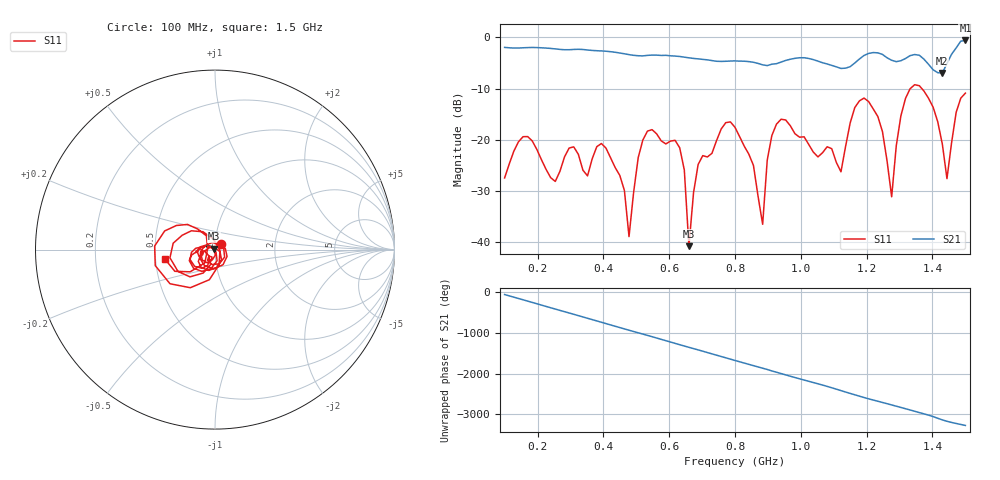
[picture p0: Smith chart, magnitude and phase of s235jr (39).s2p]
! NanoVNA-App
! Date: 2025-09-25 15:04:28
! Start: 100MHz Stop: 1,5GHz Points: 101
! S-Parameter data: F S11 S21 S12 S22
# Hz S RI R 50
!  Frequency  S11_Real  S11_Imag  S21_Real  S21_Imag  S12_Real  S12_Imag  S22_Real  S22_Imag
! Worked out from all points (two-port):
!   101 points, 100 MHz to 1.5 GHz, reference 50 ohm
!   highest |S21| = -0.60 dB at 1.5 GHz (marker M1); lowest = -7.0 dB at 1.43 GHz (marker M2)
!   |S21| within 3 dB of the highest: start of sweep to 512.2 MHz; 522.5 MHz to 603.7 MHz (81.2 MHz wide, 14.4 % of centre) (the widest 2 of 5)
!   lowest |S11| = -40.8 dB at 660 MHz (marker M3), VSWR 1.02, Z = 49.3 + j0.556 ohm
!   |S11| at or under -10 dB: start of sweep to 1.333 GHz; 1.367 GHz to end of sweep
!   S12 and S22 are empty: the file has one direction only
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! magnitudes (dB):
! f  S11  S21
! 100 MHz  -27.5  -2.0
! 156 MHz  -19.4  -2.0
! 338 MHz  -26.0  -2.4
! 408 MHz  -21.7  -2.7
! 478 MHz  -38.9  -3.4
! 520 MHz  -20.1  -3.6
! 576 MHz  -20.2  -3.5
! 632 MHz  -21.6  -3.7
! 660 MHz  -40.8  -4.0
! 688 MHz  -24.9  -4.2
! 800 MHz  -17.6  -4.6
! 884 MHz  -36.5  -5.4
! 926 MHz  -17.0  -5.1
! 1.038 GHz  -22.4  -4.4
! 1.122 GHz  -26.3  -6.1
! 1.192 GHz  -11.9  -3.5
! 1.248 GHz  -18.4  -3.3
! 1.276 GHz  -31.2  -4.5
! 1.332 GHz  -10.0  -3.6
! 1.43 GHz  -20.9  -7.0
! 1.444 GHz  -27.6  -5.1
! 1.5 GHz  -10.9  -0.6
